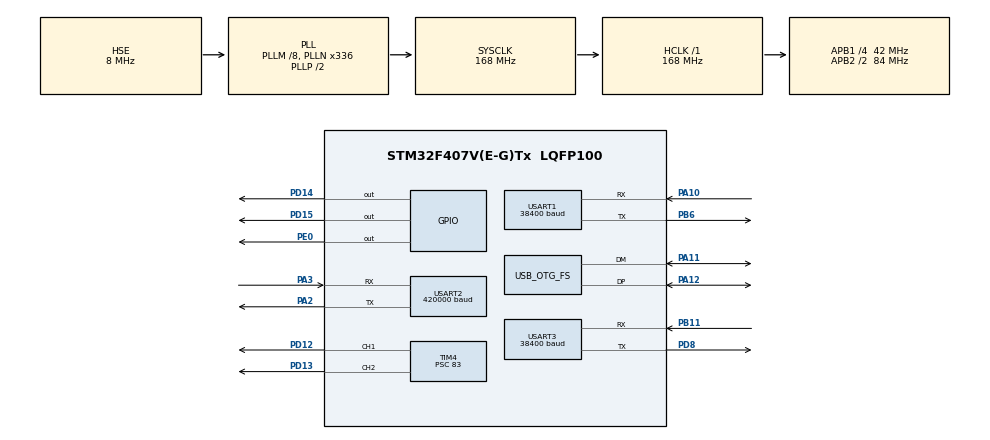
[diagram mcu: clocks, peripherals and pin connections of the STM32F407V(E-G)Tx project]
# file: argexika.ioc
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Dma.Request0=USART2_RX
Dma.USART2_RX.0.Direction=DMA_PERIPH_TO_MEMORY
Dma.USART2_RX.0.FIFOMode=DMA_FIFOMODE_DISABLE
Dma.USART2_RX.0.Instance=DMA1_Stream5
Dma.USART2_RX.0.MemDataAlignment=DMA_MDATAALIGN_BYTE
Dma.USART2_RX.0.MemInc=DMA_MINC_ENABLE
Dma.USART2_RX.0.Mode=DMA_CIRCULAR
Dma.USART2_RX.0.PeriphDataAlignment=DMA_PDATAALIGN_BYTE
Dma.USART2_RX.0.PeriphInc=DMA_PINC_DISABLE
Dma.USART2_RX.0.Priority=DMA_PRIORITY_LOW
Mcu.Family=STM32F4
Mcu.Name=STM32F407V(E-G)Tx
Mcu.Package=LQFP100
NVIC.DMA1_Stream5_IRQn=true\:0\:0\:false\:false\:true\:false\:true\:true
NVIC.OTG_FS_IRQn=true\:0\:0\:false\:false\:true\:false\:true\:true
NVIC.PriorityGroup=NVIC_PRIORITYGROUP_4
PA10.Mode=Asynchronous
PA10.Signal=USART1_RX
PA11.Mode=Device_Only
PA11.Signal=USB_OTG_FS_DM
PA12.Mode=Device_Only
PA12.Signal=USB_OTG_FS_DP
PA13.Mode=Serial_Wire
PA13.Signal=SYS_JTMS-SWDIO
PA14.Mode=Serial_Wire
PA14.Signal=SYS_JTCK-SWCLK
PA2.Mode=Asynchronous
PA2.Signal=USART2_TX
PA3.Mode=Asynchronous
PA3.Signal=USART2_RX
PB11.Mode=Asynchronous
PB11.Signal=USART3_RX
PB6.Mode=Asynchronous
PB6.Signal=USART1_TX
PD12.Signal=S_TIM4_CH1
PD13.Signal=S_TIM4_CH2
PD14.Signal=GPIO_Output
PD15.Signal=GPIO_Output
PD8.Mode=Asynchronous
PD8.Signal=USART3_TX
PE0.Signal=GPIO_Output
PH0-OSC_IN.Mode=HSE-External-Clock-Source
PH0-OSC_IN.Signal=RCC_OSC_IN
PH1-OSC_OUT.Mode=HSE-External-Clock-Source
PH1-OSC_OUT.Signal=RCC_OSC_OUT
ProjectManager.HeapSize=0x200
ProjectManager.StackSize=0x400
ProjectManager.TargetToolchain=STM32CubeIDE
RCC.48MHZClocksFreq_Value=48000000
RCC.AHBFreq_Value=168000000
RCC.APB1CLKDivider=RCC_HCLK_DIV4
RCC.APB1Freq_Value=42000000
RCC.APB1TimFreq_Value=84000000
RCC.APB2CLKDivider=RCC_HCLK_DIV2
RCC.APB2Freq_Value=84000000
RCC.APB2TimFreq_Value=168000000
RCC.CortexFreq_Value=168000000
RCC.HCLKFreq_Value=168000000
RCC.HSE_VALUE=8000000
RCC.HSI_VALUE=16000000
RCC.LSE_VALUE=32768
RCC.PLLM=8
RCC.PLLN=336
RCC.PLLQ=7
RCC.SYSCLKFreq_VALUE=168000000
RCC.SYSCLKSource=RCC_SYSCLKSOURCE_PLLCLK
RCC.VCOOutputFreq_Value=336000000
SH.S_TIM4_CH1.0=TIM4_CH1,PWM Generation1 CH1
SH.S_TIM4_CH2.0=TIM4_CH2,PWM Generation2 CH2
TIM4.AutoReloadPreload=TIM_AUTORELOAD_PRELOAD_ENABLE
TIM4.Channel-PWM\ Generation1\ CH1=TIM_CHANNEL_1
TIM4.Channel-PWM\ Generation2\ CH2=TIM_CHANNEL_2
TIM4.Period=19999
TIM4.Prescaler=83
TIM4.Pulse-PWM\ Generation1\ CH1=1500
USART1.BaudRate=38400
USART1.Mode=MODE_TX
USART1.VirtualMode=VM_ASYNC
USART2.BaudRate=420000
USART2.Mode=MODE_RX
USART2.VirtualMode=VM_ASYNC
USART3.BaudRate=38400
USART3.Mode=MODE_TX
USART3.VirtualMode=VM_ASYNC
USB_DEVICE.CLASS_NAME_FS=CDC
USB_DEVICE.VirtualMode-CDC_FS=Cdc
USB_DEVICE.VirtualModeFS=Cdc_FS
USB_OTG_FS.VirtualMode=Device_Only
VP_TIM4_VS_ClockSourceINT.Mode=Internal
VP_USB_DEVICE_VS_USB_DEVICE_CDC_FS.Mode=CDC_FS
board=custom

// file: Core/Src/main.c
/* USER CODE BEGIN Header */
/**
  ******************************************************************************
  * @file           : main.c
  * @brief          : Main program body
  ******************************************************************************
  * @attention
  *
  * Copyright (c) 2026 STMicroelectronics.
  * All rights reserved.
  *
  * This software is licensed under terms that can be found in the LICENSE file
  * in the root directory of this software component.
  * If no LICENSE file comes with this software, it is provided AS-IS.
  *
  ******************************************************************************
  */
/* USER CODE END Header */
#include "main.h"
#include "usb_device.h"

/* USER CODE BEGIN Includes */
#include "crsf.h"
#include "reactor.h"
#include "servo.h"
#include "haberlesme.h"      /* STM -> Jetson telemetri (su an USART6; Adim 3'te USB-CDC) */
#include <string.h>
/* USER CODE END Includes */

/* USER CODE BEGIN PD */
/* --- Kanal atamalari ---
 * CH1/CH2 PAYLASIMLI: SURUS modunda motor (donus/gaz), LAZER modunda taret (pan/tilt).
 * Lazer modunda motorlar kilitli oldugu icin ayni stickler taret icin kullanilir. */
#define CH_STEER            1U      /* SURUS: donus      | LAZER: PAN servo  */
#define CH_THROTTLE         2U      /* SURUS: ileri/geri | LAZER: TILT servo */
/* CH3, CH4 artik kullanilmiyor (taret CH1/CH2'ye tasindi) */
#define CH_OP_MODE          5U      /* operasyon: <esik = MANUEL, >esik = OTONOM */
#define CH_SPEED_MODE       6U      /* 3 pozisyon hiz limiti (yalniz manuel surus) */
#define CH_LASER            7U      /* >esik = LAZER modu acik (motorlar kilitlenir) */
#define CH_ESTOP            9U      /* FAILSAFE anlik buton -> kilitli E-STOP */
#define CH_FIRE             10U     /* lazer atesleme tetigi (yalniz LAZER modu) */

#define OP_AUTO_THRESH_US   1500U   /* CH5 bu ustunde -> OTONOM */
#define LASER_ON_THRESH_US  1700U   /* CH7 bu ustunde -> LAZER modu */
#define ESTOP_THRESH_US     1500U   /* CH9 bu ustunde -> buton basili */
#define FIRE_THRESH_US      1700U   /* CH10 bu esigin ustunde -> ates */

/* Otonom surus (Jetson->motor) yolu. 0 iken OTONOM moda gecilir ama motorlar
 * DURUR (yalniz mod bayragi gonderilir); Jetson surus kodu hazir olunca 1 yap. */
#define AUTO_DRIVE_ENABLED  0

/* --- Surus davranisi --- */
#define STICK_DEADBAND_US   25U     /* stick merkez olu bandi */
#define TURN_GAIN_PCT       60      /* donus keskinligi (%). 100 = tam diferansiyel */
#define DRIVE_MAX_PCT_LOW   30      /* CH6 asagi  : ilk testler icin */
#define DRIVE_MAX_PCT_MID   60      /* CH6 orta   */
#define DRIVE_MAX_PCT_HIGH  100     /* CH6 yukari */

/* Motor yon terslemeleri: tekerlekler ters donerse -1 yapin. */
#define LEFT_INV_A          (+1)
#define LEFT_INV_B          (+1)
#define RIGHT_INV_A         (-1)
#define RIGHT_INV_B         (-1)

/* --- Servo mekanik sinirlari (RDS3235: 500-2500us ~ 270 derece) --- */
#define PAN_MIN_US          700U
#define PAN_MAX_US          2300U
#define PAN_CENTER_US       1500U

#define TILT_MIN_US         1100U   /* asagi bakis siniri  */
#define TILT_MAX_US         1900U   /* yukari bakis siniri */
#define TILT_CENTER_US      1500U

/* PAN "rate" modu: stick sapmasini hiz komutu olarak yorumlar. */
#define PAN_RATE_MODE       1
#define PAN_RATE_US_PER_S   400     /* tam stick -> saniyede 400us hareket */

/* TILT tirtikli (throttle) stickte oldugu icin mutlak esleme */
#define TILT_RATE_MODE      0
#define TILT_RATE_US_PER_S  300

/* --- Zamanlama / failsafe --- */
#define LOOP_PERIOD_MS      10U     /* 100 Hz ana dongu */
#define CRSF_TIMEOUT_MS     300U    /* bu sure sinyal yoksa FAILSAFE */
#define CRSF_RX_BUF_SIZE    256U
/* USER CODE END PD */

TIM_HandleTypeDef htim4;

UART_HandleTypeDef huart1;
UART_HandleTypeDef huart2;
UART_HandleTypeDef huart3;
DMA_HandleTypeDef hdma_usart2_rx;

/* USER CODE BEGIN PV */
static crsf_t    g_crsf;
static reactor_t g_left;
static reactor_t g_right;
static servo_t   g_pan;
static servo_t   g_tilt;

static uint8_t   g_rx_buf[CRSF_RX_BUF_SIZE];
static uint16_t  g_rx_tail = 0;

/* Telemetri icin son UYGULANAN palet hizlari (-1000..+1000; dur = 0). */
static int16_t   g_applied_left  = 0;
static int16_t   g_applied_right = 0;

/* Mod/durum (Control_Decide her dongu gunceller). */
static uint8_t   g_laser_mode  = 0;  /* 0 = surus, 1 = lazer modu (CH7) */
static uint8_t   g_auto_active = 0;  /* 0 = manuel, 1 = otonom (CH5) -> telemetri ST_AUTO_EN */
static uint8_t   g_estop       = 0;  /* 1 = kilitli acil durdurma (CH9 buton) */
static uint8_t   g_fire_on     = 0;  /* 0/1 lazer atesleme cikisi (PE1) */
/* USER CODE END PV */

void SystemClock_Config(void);
static void MX_GPIO_Init(void);
static void MX_DMA_Init(void);
static void MX_USART2_UART_Init(void);
static void MX_TIM4_Init(void);
static void MX_USART1_UART_Init(void);
static void MX_USART3_UART_Init(void);
/* USER CODE BEGIN PFP */
static void CRSF_PumpDMA(void);
static void Control_Decide(uint32_t now_ms, uint8_t link_ok);
static void Drive_Update(uint32_t now_ms, uint8_t link_ok);
static void Turret_Update(uint32_t now_ms, uint8_t link_ok);
static void Laser_Update(uint32_t now_ms, uint8_t link_ok);
static void Telemetry_Update(uint32_t now_ms, uint8_t link_ok);
static uint8_t Servo_UsToDeg(const servo_t *s);
/* USER CODE END PFP */

int main(void)
{

  /* MCU Configuration--------------------------------------------------------*/

  /* Reset of all peripherals, Initializes the Flash interface and the Systick. */
  HAL_Init();

  /* Configure the system clock */
  SystemClock_Config();

  /* Initialize all configured peripherals */
  MX_GPIO_Init();
  MX_DMA_Init();
  MX_USART2_UART_Init();
  MX_TIM4_Init();
  MX_USART1_UART_Init();
  MX_USART3_UART_Init();
  MX_USB_DEVICE_Init();
  /* USER CODE BEGIN 2 */
  /* --- Modulleri baslat --- */
  CRSF_Init(&g_crsf);
  Reactor_Init(&g_left,  &huart1, LEFT_INV_A,  LEFT_INV_B);
  Reactor_Init(&g_right, &huart3, RIGHT_INV_A, RIGHT_INV_B);

  Servo_Init(&g_pan,  &htim4, TIM_CHANNEL_1, PAN_MIN_US,  PAN_MAX_US,  PAN_CENTER_US);
  Servo_Init(&g_tilt, &htim4, TIM_CHANNEL_2, TILT_MIN_US, TILT_MAX_US, TILT_CENTER_US);

  /* Guvenlik: acilista motorlar kesinlikle dursun, lazer kapali olsun */
  Reactor_Stop(&g_left);
  Reactor_Stop(&g_right);
  HAL_GPIO_WritePin(GPIOE, GPIO_PIN_0, GPIO_PIN_RESET);   /* EN = pasif   */
  HAL_GPIO_WritePin(GPIOE, GPIO_PIN_1, GPIO_PIN_RESET);   /* ATES = kapali */

  /* Jetson telemetri hattini baslat (su an USART6/PC6; Adim 3'te USB-CDC olacak) */
  Haberlesme_Init();

  /* CRSF alimini dairesel DMA ile baslat */
  if (HAL_UART_Receive_DMA(&huart2, g_rx_buf, CRSF_RX_BUF_SIZE) != HAL_OK)
  {
    Error_Handler();
  }
  g_rx_tail = 0;

  uint32_t last_loop = HAL_GetTick();
  /* USER CODE END 2 */

  /* Infinite loop */
  while (1)
  {

    /* USER CODE BEGIN 3 */
    /* 1) Gelen CRSF byte'larini surekli isle (dongu hizindan bagimsiz) */
    CRSF_PumpDMA();

    uint32_t now = HAL_GetTick();

    /* 1b) Jetson -> STM COMMAND/HEARTBEAT: DMA tamponunu her spin bosalt
           (non-blocking). Gelen komut JetsonKomut'a yazilir; bu surumde
           henuz surus/servoya UYGULANMAZ (arbitrasyon sonraki adim). */
    Haberlesme_Poll(now);

    if ((now - last_loop) < LOOP_PERIOD_MS)
    {
      continue;
    }
    last_loop = now;

    /* 2) Baglanti durumu */
    uint8_t link_ok = CRSF_IsLinkUp(&g_crsf, now, CRSF_TIMEOUT_MS) ? 1U : 0U;

    /* 3) Once mod/E-STOP karari, sonra cikislari guncelle */
    Control_Decide(now, link_ok);
    Drive_Update(now, link_ok);
    Turret_Update(now, link_ok);
    Laser_Update(now, link_ok);

    /* 4) Durum LED'leri */
    HAL_GPIO_WritePin(GPIOD, GPIO_PIN_14, link_ok ? GPIO_PIN_RESET : GPIO_PIN_SET);
    HAL_GPIO_WritePin(GPIOD, GPIO_PIN_15, link_ok ? GPIO_PIN_SET   : GPIO_PIN_RESET);

    /* 5) Jetson telemetrisi (STATUS 20 Hz + HEARTBEAT 10 Hz) */
    Telemetry_Update(now, link_ok);
  }
  /* USER CODE END 3 */
}

void SystemClock_Config(void)
{
  RCC_OscInitTypeDef RCC_OscInitStruct = {0};
  RCC_ClkInitTypeDef RCC_ClkInitStruct = {0};

  /** Configure the main internal regulator output voltage
  */
  __HAL_RCC_PWR_CLK_ENABLE();
  __HAL_PWR_VOLTAGESCALING_CONFIG(PWR_REGULATOR_VOLTAGE_SCALE1);

  /** Initializes the RCC Oscillators according to the specified parameters
  * in the RCC_OscInitTypeDef structure.
  */
  RCC_OscInitStruct.OscillatorType = RCC_OSCILLATORTYPE_HSE;
  RCC_OscInitStruct.HSEState = RCC_HSE_BYPASS;
  RCC_OscInitStruct.PLL.PLLState = RCC_PLL_ON;
  RCC_OscInitStruct.PLL.PLLSource = RCC_PLLSOURCE_HSE;
  RCC_OscInitStruct.PLL.PLLM = 8;
  RCC_OscInitStruct.PLL.PLLN = 336;
  RCC_OscInitStruct.PLL.PLLP = RCC_PLLP_DIV2;
  RCC_OscInitStruct.PLL.PLLQ = 7;
  if (HAL_RCC_OscConfig(&RCC_OscInitStruct) != HAL_OK)
  {
    Error_Handler();
  }

  /** Initializes the CPU, AHB and APB buses clocks
  */
  RCC_ClkInitStruct.ClockType = RCC_CLOCKTYPE_HCLK|RCC_CLOCKTYPE_SYSCLK
                              |RCC_CLOCKTYPE_PCLK1|RCC_CLOCKTYPE_PCLK2;
  RCC_ClkInitStruct.SYSCLKSource = RCC_SYSCLKSOURCE_PLLCLK;
  RCC_ClkInitStruct.AHBCLKDivider = RCC_SYSCLK_DIV1;
  RCC_ClkInitStruct.APB1CLKDivider = RCC_HCLK_DIV4;
  RCC_ClkInitStruct.APB2CLKDivider = RCC_HCLK_DIV2;

  if (HAL_RCC_ClockConfig(&RCC_ClkInitStruct, FLASH_LATENCY_5) != HAL_OK)
  {
    Error_Handler();
  }
}

static void MX_TIM4_Init(void)
{

  TIM_ClockConfigTypeDef sClockSourceConfig = {0};
  TIM_MasterConfigTypeDef sMasterConfig = {0};
  TIM_OC_InitTypeDef sConfigOC = {0};

  htim4.Instance = TIM4;
  htim4.Init.Prescaler = 83;
  htim4.Init.CounterMode = TIM_COUNTERMODE_UP;
  htim4.Init.Period = 19999;
  htim4.Init.ClockDivision = TIM_CLOCKDIVISION_DIV1;
  htim4.Init.AutoReloadPreload = TIM_AUTORELOAD_PRELOAD_ENABLE;
  if (HAL_TIM_Base_Init(&htim4) != HAL_OK)
  {
    Error_Handler();
  }
  sClockSourceConfig.ClockSource = TIM_CLOCKSOURCE_INTERNAL;
  if (HAL_TIM_ConfigClockSource(&htim4, &sClockSourceConfig) != HAL_OK)
  {
    Error_Handler();
  }
  if (HAL_TIM_PWM_Init(&htim4) != HAL_OK)
  {
    Error_Handler();
  }
  sMasterConfig.MasterOutputTrigger = TIM_TRGO_RESET;
  sMasterConfig.MasterSlaveMode = TIM_MASTERSLAVEMODE_DISABLE;
  if (HAL_TIMEx_MasterConfigSynchronization(&htim4, &sMasterConfig) != HAL_OK)
  {
    Error_Handler();
  }
  sConfigOC.OCMode = TIM_OCMODE_PWM1;
  sConfigOC.Pulse = 1500;
  sConfigOC.OCPolarity = TIM_OCPOLARITY_HIGH;
  sConfigOC.OCFastMode = TIM_OCFAST_DISABLE;
  if (HAL_TIM_PWM_ConfigChannel(&htim4, &sConfigOC, TIM_CHANNEL_1) != HAL_OK)
  {
    Error_Handler();
  }
  sConfigOC.Pulse = 0;
  if (HAL_TIM_PWM_ConfigChannel(&htim4, &sConfigOC, TIM_CHANNEL_2) != HAL_OK)
  {
    Error_Handler();
  }
  HAL_TIM_MspPostInit(&htim4);

}

static void MX_USART1_UART_Init(void)
{

  huart1.Instance = USART1;
  huart1.Init.BaudRate = 38400;
  huart1.Init.WordLength = UART_WORDLENGTH_8B;
  huart1.Init.StopBits = UART_STOPBITS_1;
  huart1.Init.Parity = UART_PARITY_NONE;
  huart1.Init.Mode = UART_MODE_TX;
  huart1.Init.HwFlowCtl = UART_HWCONTROL_NONE;
  huart1.Init.OverSampling = UART_OVERSAMPLING_16;
  if (HAL_UART_Init(&huart1) != HAL_OK)
  {
    Error_Handler();
  }

}

static void MX_USART2_UART_Init(void)
{

  huart2.Instance = USART2;
  huart2.Init.BaudRate = 420000;
  huart2.Init.WordLength = UART_WORDLENGTH_8B;
  huart2.Init.StopBits = UART_STOPBITS_1;
  huart2.Init.Parity = UART_PARITY_NONE;
  huart2.Init.Mode = UART_MODE_RX;
  huart2.Init.HwFlowCtl = UART_HWCONTROL_NONE;
  huart2.Init.OverSampling = UART_OVERSAMPLING_16;
  if (HAL_UART_Init(&huart2) != HAL_OK)
  {
    Error_Handler();
  }

}

static void MX_USART3_UART_Init(void)
{

  huart3.Instance = USART3;
  huart3.Init.BaudRate = 38400;
  huart3.Init.WordLength = UART_WORDLENGTH_8B;
  huart3.Init.StopBits = UART_STOPBITS_1;
  huart3.Init.Parity = UART_PARITY_NONE;
  huart3.Init.Mode = UART_MODE_TX;
  huart3.Init.HwFlowCtl = UART_HWCONTROL_NONE;
  huart3.Init.OverSampling = UART_OVERSAMPLING_16;
  if (HAL_UART_Init(&huart3) != HAL_OK)
  {
    Error_Handler();
  }

}

static void MX_DMA_Init(void)
{

  /* DMA controller clock enable */
  __HAL_RCC_DMA1_CLK_ENABLE();

  /* DMA interrupt init */
  /* DMA1_Stream5_IRQn interrupt configuration */
  HAL_NVIC_SetPriority(DMA1_Stream5_IRQn, 0, 0);
  HAL_NVIC_EnableIRQ(DMA1_Stream5_IRQn);

}

static void MX_GPIO_Init(void)
{
  GPIO_InitTypeDef GPIO_InitStruct = {0};

  /* GPIO Ports Clock Enable */
  __HAL_RCC_GPIOH_CLK_ENABLE();
  __HAL_RCC_GPIOA_CLK_ENABLE();
  __HAL_RCC_GPIOB_CLK_ENABLE();
  __HAL_RCC_GPIOD_CLK_ENABLE();
  __HAL_RCC_GPIOE_CLK_ENABLE();

  /*Configure GPIO pin Output Level */
  HAL_GPIO_WritePin(GPIOD, GPIO_PIN_14|GPIO_PIN_15, GPIO_PIN_RESET);

  /*Configure GPIO pin Output Level */
  HAL_GPIO_WritePin(GPIOE, GPIO_PIN_0, GPIO_PIN_RESET);

  /*Configure GPIO pins : PD14 PD15 */
  GPIO_InitStruct.Pin = GPIO_PIN_14|GPIO_PIN_15;
  GPIO_InitStruct.Mode = GPIO_MODE_OUTPUT_PP;
  GPIO_InitStruct.Pull = GPIO_NOPULL;
  GPIO_InitStruct.Speed = GPIO_SPEED_FREQ_LOW;
  HAL_GPIO_Init(GPIOD, &GPIO_InitStruct);

  /*Configure GPIO pin : PE0 */
  GPIO_InitStruct.Pin = GPIO_PIN_0;
  GPIO_InitStruct.Mode = GPIO_MODE_OUTPUT_PP;
  GPIO_InitStruct.Pull = GPIO_NOPULL;
  GPIO_InitStruct.Speed = GPIO_SPEED_FREQ_LOW;
  HAL_GPIO_Init(GPIOE, &GPIO_InitStruct);

  /* USER CODE BEGIN MX_GPIO_Init_2 */
  /* PE1: Lazer atesleme cikisi (HIGH = ates). .ioc'de tanimli olmadigindan
     CubeMX uretmez; burada elle output olarak kuruyoruz (regen-guvenli). */
  HAL_GPIO_WritePin(GPIOE, GPIO_PIN_1, GPIO_PIN_RESET);
  GPIO_InitStruct.Pin   = GPIO_PIN_1;
  GPIO_InitStruct.Mode  = GPIO_MODE_OUTPUT_PP;
  GPIO_InitStruct.Pull  = GPIO_NOPULL;
  GPIO_InitStruct.Speed = GPIO_SPEED_FREQ_LOW;
  HAL_GPIO_Init(GPIOE, &GPIO_InitStruct);
  /* USER CODE END MX_GPIO_Init_2 */
}

/* USER CODE BEGIN 4 */

/* ==========================================================================
 *  CRSF: DMA halka tamponundan byte cekip parser'a besle
 * ========================================================================== */
static void CRSF_PumpDMA(void)
{
    /* DMA hata nedeniyle durduysa yeniden baslat (ORE/NE/FE korumasi) */
    if (huart2.RxState != HAL_UART_STATE_BUSY_RX)
    {
        __HAL_UART_CLEAR_OREFLAG(&huart2);
        HAL_UART_Receive_DMA(&huart2, g_rx_buf, CRSF_RX_BUF_SIZE);
        g_rx_tail = 0;
        return;
    }

    uint16_t head = (uint16_t)(CRSF_RX_BUF_SIZE - __HAL_DMA_GET_COUNTER(huart2.hdmarx));
    uint32_t now  = HAL_GetTick();

    while (g_rx_tail != head)
    {
        CRSF_ParseByte(&g_crsf, g_rx_buf[g_rx_tail], now);
        g_rx_tail++;
        if (g_rx_tail >= CRSF_RX_BUF_SIZE)
        {
            g_rx_tail = 0;
        }
    }
}

/* ==========================================================================
 *  MOD / E-STOP KARARI
 *   - CH9 anlik buton -> kilitli E-STOP (bir bas: her sey durur+kilitlenir;
 *     reset: butonu birak + CH5'i MANUEL konuma al = operator kontrolu geri aldi)
 *   - CH7 > esik  -> LAZER modu (ONCELIKLI; motorlar kilitlenir)
 *   - CH5 > esik  -> OTONOM, degilse MANUEL (yalniz lazer kapaliyken gecerli)
 *  Sonuc: g_estop / g_laser_mode / g_auto_active. Uygulama Drive/Turret/Laser
 *  _Update icinde bu bayraklara gore yapilir.
 * ========================================================================== */
static void Control_Decide(uint32_t now_ms, uint8_t link_ok)
{
    (void)now_ms;
    static uint8_t prev_btn = 0U;

    /* Link yoksa: mod bayraklari guvenli varsayilana. E-STOP mandali korunur
       (link donunce buton hala basiliysa yeniden tetiklenir). */
    if (!link_ok)
    {
        g_laser_mode  = 0U;
        g_auto_active = 0U;
        prev_btn      = 0U;
        return;
    }

    /* --- E-STOP: anlik butonun YUKSELEN kenari mandalliyor --- */
    uint8_t btn = (CRSF_GetChannelUs(&g_crsf, CH_ESTOP) > ESTOP_THRESH_US) ? 1U : 0U;
    if (btn && !prev_btn) { g_estop = 1U; }
    prev_btn = btn;

    uint8_t laser_on = (CRSF_GetChannelUs(&g_crsf, CH_LASER)   > LASER_ON_THRESH_US) ? 1U : 0U;
    uint8_t auto_on  = (CRSF_GetChannelUs(&g_crsf, CH_OP_MODE) > OP_AUTO_THRESH_US)  ? 1U : 0U;

    /* Reset: buton birakildi VE CH5 MANUEL konumda */
    if (g_estop && !btn && !auto_on) { g_estop = 0U; }

    /* Oncelik: LAZER (CH7) > operasyon (CH5). Lazer acikken otonom devre disi. */
    g_laser_mode  = laser_on;
    g_auto_active = (!laser_on && auto_on) ? 1U : 0U;
}

/* ==========================================================================
 *  SURUS: tank (skid-steer) mix -> iki Reactor surucusu
 *   Motorlar YALNIZ manuel/otonom surus + gecerli kontrol varken doner.
 *   FAILSAFE(link) | E-STOP | LAZER modu -> her durumda DUR.
 * ========================================================================== */
static void Drive_Update(uint32_t now_ms, uint8_t link_ok)
{
    /* --- Motor DUR sartlari: sinyal yok, acil durdurma, veya lazer modu --- */
    if (!link_ok || g_estop || g_laser_mode)
    {
        Reactor_Stop(&g_left);
        Reactor_Stop(&g_right);
        HAL_GPIO_WritePin(GPIOE, GPIO_PIN_0, GPIO_PIN_RESET);   /* EN pasif */
        g_applied_left  = 0;
        g_applied_right = 0;
        return;
    }

    /* --- OTONOM modu --- */
    if (g_auto_active)
    {
#if AUTO_DRIVE_ENABLED
        /* Jetson hedeflerini uygula (yalniz gecerli el sikismasinda) */
        const JetsonKomut *k = Haberlesme_GetKomut();
        uint8_t auto_ok = (k->bayrak & CMD_FLAG_AUTO_REQ)
                          && Haberlesme_KomutTaze(now_ms)
                          && Haberlesme_JetsonLinkTaze(now_ms);
        if (auto_ok)
        {
            int32_t l = (int32_t)k->solHedef * 10;   /* -100..100 -> -1000..1000 */
            int32_t r = (int32_t)k->sagHedef * 10;
            if (l >  1000) { l =  1000; } if (l < -1000) { l = -1000; }
            if (r >  1000) { r =  1000; } if (r < -1000) { r = -1000; }
            Reactor_SetSpeed(&g_left,  (int16_t)l, (int16_t)l);
            Reactor_SetSpeed(&g_right, (int16_t)r, (int16_t)r);
            HAL_GPIO_WritePin(GPIOE, GPIO_PIN_0, GPIO_PIN_SET);
            g_applied_left  = (int16_t)l;
            g_applied_right = (int16_t)r;
            return;
        }
#else
        (void)now_ms;
#endif
        /* Jetson surusu hazir/gecerli degil -> guvenli DUR (mod yine OTONOM) */
        Reactor_Stop(&g_left);
        Reactor_Stop(&g_right);
        HAL_GPIO_WritePin(GPIOE, GPIO_PIN_0, GPIO_PIN_RESET);
        g_applied_left  = 0;
        g_applied_right = 0;
        return;
    }

    /* --- MANUEL surus: RC stickleri (CH1 donus, CH2 gaz) --- */
    HAL_GPIO_WritePin(GPIOE, GPIO_PIN_0, GPIO_PIN_SET);   /* EN aktif */

    /* Hiz limiti (CH6, 3 pozisyonlu anahtar) */
    uint16_t sp_us   = CRSF_GetChannelUs(&g_crsf, CH_SPEED_MODE);
    int32_t  max_pct = DRIVE_MAX_PCT_LOW;
    if      (sp_us > 1700U) { max_pct = DRIVE_MAX_PCT_HIGH; }
    else if (sp_us > 1300U) { max_pct = DRIVE_MAX_PCT_MID;  }

    int32_t thr = CRSF_GetChannelNorm(&g_crsf, CH_THROTTLE, STICK_DEADBAND_US);
    int32_t str = CRSF_GetChannelNorm(&g_crsf, CH_STEER,    STICK_DEADBAND_US);

    str = (str * TURN_GAIN_PCT) / 100;

    /* Tank mix */
    int32_t left  = thr + str;
    int32_t right = thr - str;

    /* Tasma olursa iki tarafi birlikte olcekle (donus hissi bozulmasin) */
    int32_t peak = (left  >  0) ?  left  : -left;
    int32_t tmp  = (right >  0) ?  right : -right;
    if (tmp > peak) { peak = tmp; }
    if (peak > 1000)
    {
        left  = (left  * 1000) / peak;
        right = (right * 1000) / peak;
    }

    left  = (left  * max_pct) / 100;
    right = (right * max_pct) / 100;

    Reactor_SetSpeed(&g_left,  (int16_t)left,  (int16_t)left);
    Reactor_SetSpeed(&g_right, (int16_t)right, (int16_t)right);

    g_applied_left  = (int16_t)left;
    g_applied_right = (int16_t)right;
}

/* ==========================================================================
 *  TARET: pan (yatay) / tilt (dikey) servolari
 *   Taret YALNIZ lazer modunda kumanda edilir; stickler CH1 (pan) / CH2 (tilt).
 *   Diger modlarda (surus) servolar SON KONUMDA kalir. Lazerde motorlar zaten
 *   kilitli oldugu icin ayni CH1/CH2 stickleri taret icin kullanilir.
 * ========================================================================== */
static void Turret_Update(uint32_t now_ms, uint8_t link_ok)
{
    (void)now_ms;

    /* Lazer modu disinda, link yokken veya E-STOP'ta servolar son konumda kalir */
    if (!link_ok || g_estop || !g_laser_mode)
    {
        return;
    }

    int32_t pan_in  = CRSF_GetChannelNorm(&g_crsf, CH_STEER,    STICK_DEADBAND_US); /* CH1 */
    int32_t tilt_in = CRSF_GetChannelNorm(&g_crsf, CH_THROTTLE, STICK_DEADBAND_US); /* CH2 */

    /* --- PAN --- */
#if PAN_RATE_MODE
    /* delta = rate * stick * dt   (dt = LOOP_PERIOD_MS) */
    int32_t d_pan = (PAN_RATE_US_PER_S * pan_in * (int32_t)LOOP_PERIOD_MS) / (1000 * 1000);
    Servo_AddUs(&g_pan, d_pan);
#else
    Servo_SetNorm(&g_pan, (int16_t)pan_in);
#endif

    /* --- TILT --- */
#if TILT_RATE_MODE
    int32_t d_tilt = (TILT_RATE_US_PER_S * tilt_in * (int32_t)LOOP_PERIOD_MS) / (1000 * 1000);
    Servo_AddUs(&g_tilt, d_tilt);
#else
    Servo_SetNorm(&g_tilt, (int16_t)tilt_in);
#endif
}

/* ==========================================================================
 *  LAZER ATES: yalniz LAZER modunda (CH7) CH10 tetigi ile PE1 -> HIGH.
 *   Mod karari Control_Decide'da verilir; burada sadece atesleme uygulanir.
 *   Lazer modu disinda / E-STOP / link yok -> ates kapali.
 * ========================================================================== */
static void Laser_Update(uint32_t now_ms, uint8_t link_ok)
{
    (void)now_ms;

    if (!link_ok || g_estop || !g_laser_mode)
    {
        HAL_GPIO_WritePin(GPIOE, GPIO_PIN_1, GPIO_PIN_RESET);
        g_fire_on = 0U;
        return;
    }

    /* LAZER modu: CH10 tetigi ile atesle */
    uint8_t fire = (CRSF_GetChannelUs(&g_crsf, CH_FIRE) > FIRE_THRESH_US) ? 1U : 0U;
    g_fire_on    = fire;
    HAL_GPIO_WritePin(GPIOE, GPIO_PIN_1, fire ? GPIO_PIN_SET : GPIO_PIN_RESET);
}

/* ==========================================================================
 *  TELEMETRI: Jetson'a STATUS (20 Hz) + HEARTBEAT (10 Hz)
 * ========================================================================== */

/* Servo darbe genisligini (min_us..max_us) 0..180 dereceye esler. */
static uint8_t Servo_UsToDeg(const servo_t *s)
{
    int32_t span = (int32_t)s->max_us - (int32_t)s->min_us;
    if (span <= 0) { return 90U; }
    int32_t deg = ((int32_t)s->pos_us - (int32_t)s->min_us) * 180 / span;
    if (deg < 0)   { deg = 0;   }
    if (deg > 180) { deg = 180; }
    return (uint8_t)deg;
}

static void Telemetry_Update(uint32_t now_ms, uint8_t link_ok)
{
    static uint32_t t_status = 0;
    static uint32_t t_hb     = 0;

    if ((now_ms - t_status) >= STATUS_PERIOD_MS)   /* 20 Hz */
    {
        t_status = now_ms;

        VehicleState st;
        st.solMotor = (int8_t)(g_applied_left  / 10);   /* -1000..1000 -> -100..100 */
        st.sagMotor = (int8_t)(g_applied_right / 10);
        st.pan      = Servo_UsToDeg(&g_pan);
        st.tilt     = Servo_UsToDeg(&g_tilt);
        st.lazer    = g_fire_on;                        /* CH10 atesleme durumu (PE1) */
        st.aktifMod = g_laser_mode;                     /* 0 = surus, 1 = lazer modu */
        st.elrsLink = link_ok ? 1U : 0U;

        uint8_t durum = link_ok ? 0U : ST_FAILSAFE;
        if (g_estop)       { durum |= ST_FAILSAFE; }   /* E-STOP da FAILSAFE gorunur */
        if (g_auto_active) { durum |= ST_AUTO_EN;  }   /* otonom aktif */
        if (Haberlesme_JetsonLinkTaze(now_ms)) { durum |= ST_JETSON_LINK; }
        st.durum    = durum;
        Haberlesme_SendStatus(&st);
    }

    if ((now_ms - t_hb) >= HB_PERIOD_MS)               /* 10 Hz */
    {
        t_hb = now_ms;
        Haberlesme_SendHeartbeat(now_ms);
    }
}

/* USER CODE END 4 */

void Error_Handler(void)
{
  /* USER CODE BEGIN Error_Handler_Debug */
  /* User can add his own implementation to report the HAL error return state */
  __disable_irq();
  HAL_GPIO_WritePin(GPIOD, GPIO_PIN_14, GPIO_PIN_SET);   /* PD14 kirmizi LED yanik kalir */
  while (1)
  {
  }
  /* USER CODE END Error_Handler_Debug */
}
